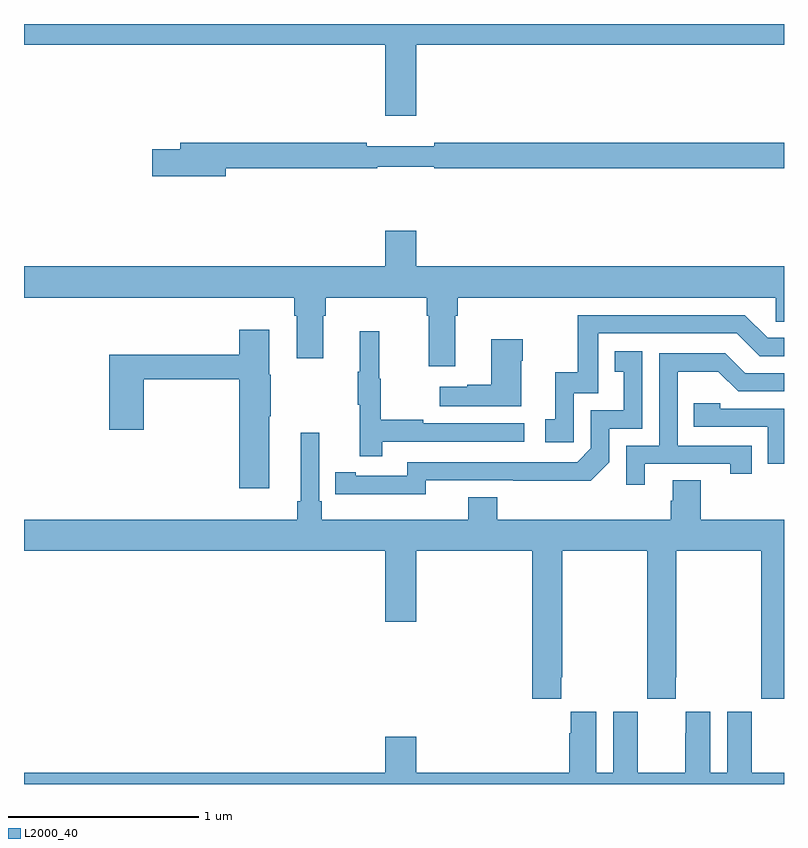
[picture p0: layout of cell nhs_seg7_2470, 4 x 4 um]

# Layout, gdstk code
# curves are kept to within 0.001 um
import gdstk
lib = gdstk.Library(unit=1e-6, precision=1e-09)
def P(c, l, *ps):  # polygons
    for p in ps: c.add(gdstk.Polygon(p, *l))
L2000_40 = (2000, 40)

nhs_seg7_2470 = lib.new_cell('nhs_seg7_2470')
P(nhs_seg7_2470, L2000_40, [(273.064,1057.892),(275,1057.892),(275,1058),(271,1058),(271,1057.892),(272.9,1057.892),(272.9,1057.518),(273.064,1057.518)],
  [(272.062,1057.24),(272.858,1057.24),(272.858,1057.248),(273.158,1057.248),(273.158,1057.24),(275,1057.24),(275,1057.376),(273.16,1057.376),(273.16,1057.357),(272.804,1057.357),(272.804,1057.376),(271.823,1057.376),(271.823,1057.34),(271.674,1057.34),(271.674,1057.198),(272.062,1057.198)],
  [(273.271,1056.464),(273.284,1056.464),(273.284,1056.56),(274.956,1056.56),(274.956,1056.433),(275,1056.433),(275,1056.724),(273.064,1056.724),(273.064,1056.913),(272.9,1056.913),(272.9,1056.724),(271,1056.724),(271,1056.56),(272.423,1056.56),(272.423,1056.464),(272.435,1056.464),(272.435,1056.24),(272.575,1056.24),(272.575,1056.464),(272.588,1056.464),(272.588,1056.56),(273.119,1056.56),(273.119,1056.464),(273.131,1056.464),(273.131,1056.198),(273.271,1056.198)],
  [(273.894,1056.057),(274.023,1056.057),(274.023,1056.372),(274.752,1056.372),(274.872,1056.252),(275,1056.252),(275,1056.348),(274.914,1056.348),(274.794,1056.468),(273.915,1056.468),(273.915,1056.166),(273.797,1056.166),(273.797,1055.919),(273.744,1055.919),(273.744,1055.799),(273.894,1055.799)],
  [(272.29,1055.935),(272.298,1055.935),(272.298,1056.153),(272.29,1056.153),(272.29,1056.391),(272.132,1056.391),(272.132,1056.259),(271.448,1056.259),(271.448,1055.865),(271.631,1055.865),(271.631,1056.13),(272.132,1056.13),(272.132,1055.556),(272.29,1055.556)],
  [(272.885,1055.802),(273.634,1055.802),(273.634,1055.898),(273.101,1055.898),(273.101,1055.918),(272.878,1055.918),(272.878,1056.132),(272.87,1056.132),(272.87,1056.382),(272.768,1056.382),(272.768,1056.169),(272.757,1056.169),(272.757,1055.995),(272.768,1055.995),(272.768,1055.724),(272.885,1055.724)],
  [(273.616,1056.227),(273.624,1056.227),(273.624,1056.34),(273.458,1056.34),(273.458,1056.101),(273.332,1056.101),(273.332,1056.091),(273.189,1056.091),(273.189,1055.987),(273.616,1055.987)],
  [(273.114,1055.598),(273.982,1055.597),(274.08,1055.694),(274.08,1055.871),(274.254,1055.871),(274.254,1056.277),(274.108,1056.277),(274.108,1056.171),(274.157,1056.171),(274.157,1055.967),(273.984,1055.967),(273.984,1055.766),(273.912,1055.694),(273.018,1055.694),(273.018,1055.622),(272.746,1055.622),(272.746,1055.642),(272.638,1055.642),(272.638,1055.526),(273.114,1055.525)],
  [(274.267,1055.685),(274.718,1055.685),(274.718,1055.634),(274.829,1055.634),(274.829,1055.781),(274.44,1055.781),(274.44,1056.17),(274.654,1056.17),(274.758,1056.066),(275,1056.066),(275,1056.162),(274.795,1056.162),(274.69,1056.267),(274.344,1056.267),(274.344,1055.781),(274.17,1055.781),(274.17,1055.574),(274.267,1055.574)],
  [(275,1055.976),(274.665,1055.976),(274.665,1056.003),(274.525,1056.003),(274.525,1055.88),(274.914,1055.88),(274.914,1055.685),(275,1055.685)],
  [(273.827,1054.561),(273.834,1054.561),(273.834,1055.228),(274.279,1055.228),(274.279,1054.561),(274.281,1054.561),(274.281,1054.449),(274.431,1054.449),(274.431,1054.561),(274.434,1054.561),(274.434,1055.228),(274.879,1055.228),(274.879,1054.561),(274.881,1054.561),(274.881,1054.449),(275,1054.449),(275,1055.392),(274.563,1055.392),(274.563,1055.6),(274.415,1055.6),(274.415,1055.49),(274.403,1055.49),(274.403,1055.392),(273.491,1055.392),(273.491,1055.509),(273.338,1055.509),(273.338,1055.392),(272.567,1055.392),(272.567,1055.488),(272.553,1055.488),(272.553,1055.848),(272.456,1055.848),(272.456,1055.488),(272.437,1055.488),(272.437,1055.392),(271,1055.392),(271,1055.228),(272.9,1055.228),(272.9,1054.854),(273.064,1054.854),(273.064,1055.228),(273.674,1055.228),(273.674,1054.449),(273.827,1054.449)],
  [(274.1,1054.06),(274.012,1054.06),(274.012,1054.381),(273.878,1054.381),(273.878,1054.268),(273.869,1054.268),(273.869,1054.06),(273.064,1054.06),(273.064,1054.249),(272.9,1054.249),(272.9,1054.06),(271,1054.06),(271,1054),(275,1054),(275,1054.06),(274.831,1054.06),(274.831,1054.268),(274.83,1054.268),(274.83,1054.381),(274.7,1054.381),(274.7,1054.06),(274.612,1054.06),(274.612,1054.381),(274.482,1054.381),(274.482,1054.268),(274.481,1054.268),(274.481,1054.06),(274.231,1054.06),(274.231,1054.268),(274.23,1054.268),(274.23,1054.381),(274.1,1054.381)])

lib.write_gds('nhs_seg7_2470.gds')
